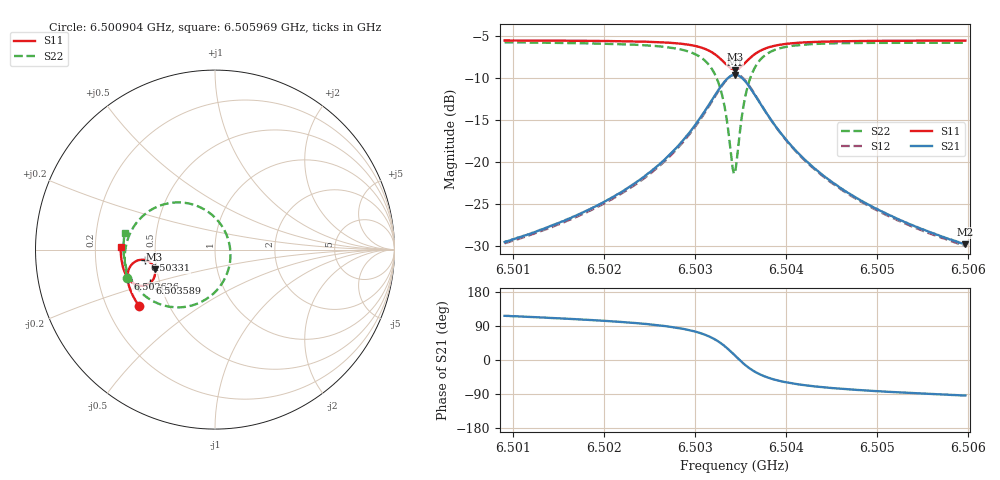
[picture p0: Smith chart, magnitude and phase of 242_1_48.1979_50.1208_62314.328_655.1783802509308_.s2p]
#  HZ  S  RI  R  50.00
! Rohde & Schwarz Vector Network Analyzer
! Rohde-Schwarz,ZNB20-2Port,1311601062101988,3.16
! Created: UTC 3/20/2024, 11:46:53 AM
! freq[Hz]  re:S11  im:S11  re:S21  im:S21  re:S12  im:S12  re:S22  im:S22
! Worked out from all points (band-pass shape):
!   401 points, 6.500904 GHz to 6.505969 GHz, reference 50 ohm
!   highest |S21| = -9.65 dB at 6.503437 GHz (marker M1); lowest = -29.9 dB at 6.505969 GHz (marker M2)
!   |S21| within 3 dB of the highest: 6.503184 GHz to 6.50369 GHz (506.3 kHz wide, 0.00779 % of centre)
!   lowest |S11| = -9.0 dB at 6.503437 GHz (marker M3), VSWR 2.09, Z = 24.3 - j5.97 ohm
!   |S11| at or under -10 dB: nowhere
!   |S22| runs from -21.4 to -5.8 dB; largest |S21 - S12| = 0.011
!   S11 on the Smith chart (normalised r, x): 6.500904 GHz: 0.34, -0.29; 6.502626 GHz: 0.33, -0.15; 6.50331 GHz: 0.44, -0.06; 6.503589 GHz: 0.44, -0.20; 6.505969 GHz: 0.31, +0.01
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6.5009042e9  -0.4243 -0.3122  -0.0149 0.0297  -0.0132 0.0299  -0.4887 -0.1583
6.5017526e9  -0.4609 -0.2498  -0.0144 0.0474  -0.012 0.047  -0.5026 -0.0687
6.5021958e9  -0.4768 -0.2109  -0.0117 0.0654  -0.00866 0.0643  -0.5005 -0.00673
6.502601e9  -0.4868 -0.1667  -0.00233 0.0959  0.00112 0.0938  -0.4807 0.0726
6.5026263e9  -0.487 -0.1636  -0.00136 0.0987  0.00234 0.0964  -0.4783 0.0788
6.5029176e9  -0.4834 -0.119  0.0258 0.1425  0.0295 0.1382  -0.4217 0.1679
6.5031075e9  -0.4622 -0.0808  0.0798 0.1847  0.0822 0.1786  -0.3182 0.2404
6.5032215e9  -0.4298 -0.06  0.1488 0.2021  0.1496 0.196  -0.1938 0.2628
6.5033101e9  -0.3894 -0.0584  0.2283 0.1859  0.2287 0.1809  -0.0567 0.2223
6.5033481e9  -0.3701 -0.066  0.2646 0.1628  0.2654 0.1582  0.00315 0.1749
6.5034114e9  -0.3434 -0.0929  0.3123 0.0987  0.3149 0.0937  0.075 0.0515
6.5034368e9  -0.337 -0.1074  0.3225 0.0664  0.3256 0.0606  0.0857 -0.0088
6.5034621e9  -0.3342 -0.1231  0.326 0.0327  0.3294 0.0256  0.0836 -0.0702
6.5035254e9  -0.3413 -0.1603  0.3075 -0.0452  0.3096 -0.0552  0.0273 -0.2054
6.5035887e9  -0.3625 -0.1861  0.2644 -0.0991  0.2634 -0.1104  -0.0697 -0.2879
6.50369e9  -0.4021 -0.2014  0.1898 -0.1351  0.1844 -0.1446  -0.2197 -0.3215
6.5038547e9  -0.4482 -0.1917  0.1081 -0.1319  0.1012 -0.1369  -0.3668 -0.2745
6.5040319e9  -0.4757 -0.1703  0.0637 -0.1117  0.0576 -0.1141  -0.4386 -0.2097
6.5042852e9  -0.4963 -0.1403  0.0338 -0.0876  0.0291 -0.088  -0.4818 -0.1375
6.5046524e9  -0.5114 -0.1021  0.0152 -0.065  0.0119 -0.0646  -0.5038 -0.0647
6.5051336e9  -0.5212 -0.0576  0.00497 -0.0479  0.0028 -0.0472  -0.5103 0.00318
6.5059694e9  -0.5259 0.013  -0.00203 -0.0321  -0.00336 -0.0312  -0.5021 0.0913
